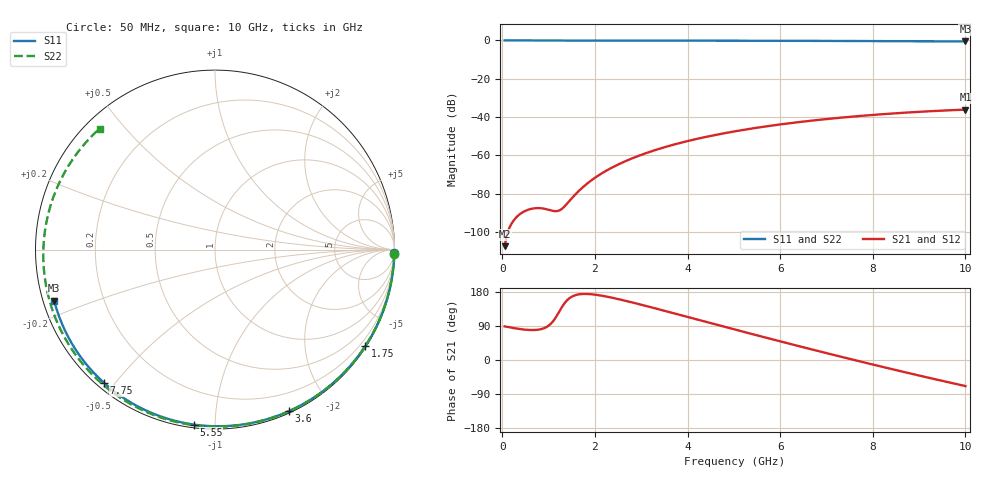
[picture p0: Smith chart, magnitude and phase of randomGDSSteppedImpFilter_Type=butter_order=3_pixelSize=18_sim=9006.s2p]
! freq	dB(S11)	phase(S11)	dB(S12)	phase(S12)
!  dB(S21)	phase(S21)	dB(S22)	phase(S22)
!S-par simulation data
#  GHz  S  DB  R 50
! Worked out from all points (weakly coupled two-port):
!   200 points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, 50 MHz to 10 GHz, reference 50 ohm
!   highest |S21| = -36.10 dB at 10 GHz (marker M1); lowest = -107.4 dB at 50 MHz (marker M2)
!   lowest |S11| = -0.5 dB at 10 GHz (marker M3), VSWR 32.35, Z = 1.58 - j7.73 ohm
!   |S11| at or under -10 dB: nowhere
!   |S22| runs from -0.6 to 0.0 dB; largest |S21 - S12| = 0
!   S11 on the Smith chart (normalised r, x): 50 MHz: open; 1.75 GHz: 0.03, -3.40; 3.6 GHz: 0.02, -1.56; 5.55 GHz: 0.02, -0.89; 7.75 GHz: 0.02, -0.47; 10 GHz: 0.03, -0.15
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0.05  -0.00 -0.9  -107.41 88.8  -107.41 88.8  -0.00 -1.3
0.4  -0.01 -7.6  -90.33 81.3  -90.33 81.3  -0.02 -10.8
0.75  -0.02 -14.2  -87.53 79.6  -87.53 79.6  -0.03 -20.2
1.15  -0.03 -21.7  -89.15 111.4  -89.15 111.4  -0.04 -30.8
1.55  -0.04 -29.1  -81.10 169.8  -81.10 169.8  -0.05 -41.2
1.6  -0.04 -30.0  -79.83 171.8  -79.83 171.8  -0.05 -42.5
1.75  -0.04 -32.8  -76.40 174.3  -76.40 174.3  -0.06 -46.3
2.05  -0.05 -38.2  -70.90 171.6  -70.90 171.6  -0.07 -53.9
2.45  -0.06 -45.4  -65.38 162.2  -65.38 162.2  -0.08 -63.8
2.9  -0.07 -53.3  -60.64 149.0  -60.64 149.0  -0.09 -74.7
3.4  -0.08 -62.0  -56.49 133.2  -56.49 133.2  -0.11 -86.3
3.6  -0.09 -65.4  -55.07 126.7  -55.07 126.7  -0.12 -90.9
4.3  -0.11 -77.0  -50.86 103.9  -50.86 103.9  -0.14 -106.4
5.05  -0.14 -89.1  -47.33 79.5  -47.33 79.5  -0.18 -122.3
5.55  -0.16 -96.9  -45.39 63.5  -45.39 63.5  -0.21 -132.7
6.15  -0.19 -106.1  -43.38 44.5  -43.38 44.5  -0.25 -144.9
6.7  -0.22 -114.3  -41.81 27.4  -41.81 27.4  -0.29 -155.9
7.25  -0.26 -122.4  -40.45 10.5  -40.45 10.5  -0.33 -167.0
7.75  -0.30 -129.7  -39.37 -4.5  -39.37 -4.5  -0.37 -177.2
8.35  -0.35 -138.4  -38.26 -22.2  -38.26 -22.2  -0.43 170.3
9.15  -0.44 -149.9  -37.06 -45.3  -37.06 -45.3  -0.52 153.1
10  -0.54 -162.4  -36.10 -68.8  -36.10 -68.8  -0.62 133.7
